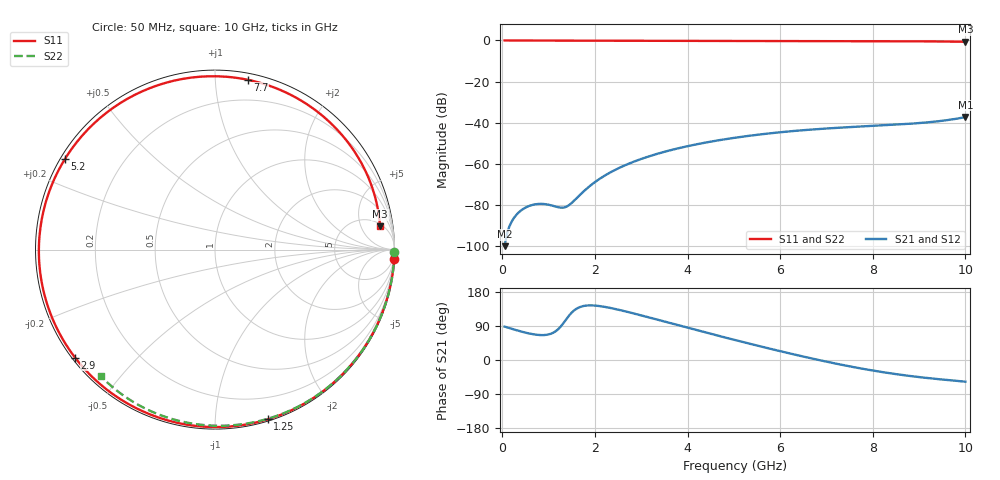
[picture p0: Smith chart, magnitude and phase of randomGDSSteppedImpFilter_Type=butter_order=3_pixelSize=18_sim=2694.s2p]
! freq	dB(S11)	phase(S11)	dB(S12)	phase(S12)
!  dB(S21)	phase(S21)	dB(S22)	phase(S22)
!S-par simulation data
#  GHz  S  DB  R 50
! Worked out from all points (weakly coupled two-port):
!   200 points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, 50 MHz to 10 GHz, reference 50 ohm
!   highest |S21| = -37.22 dB at 10 GHz (marker M1); lowest = -99.9 dB at 50 MHz (marker M2)
!   lowest |S11| = -0.6 dB at 10 GHz (marker M3), VSWR 26.91, Z = 294 + j554 ohm
!   |S11| at or under -10 dB: nowhere
!   |S22| runs from -0.4 to 0.0 dB; largest |S21 - S12| = 0
!   S11 on the Smith chart (normalised r, x): 50 MHz: 0, -37; 1.25 GHz: 0.01, -1.36; 2.9 GHz: 0.01, -0.34; 5.2 GHz: 0.01, +0.28; 7.7 GHz: 0.05, +1.21; 10 GHz: 6, +11
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0.05  -0.00 -3.1  -99.92 88.1  -99.92 88.1  -0.00 -0.8
0.35  -0.03 -21.6  -83.63 77.1  -83.63 77.1  -0.01 -5.3
0.7  -0.06 -42.5  -79.64 67.3  -79.64 67.3  -0.01 -10.6
0.95  -0.07 -56.7  -79.58 66.4  -79.58 66.4  -0.02 -14.4
1.25  -0.08 -72.7  -81.19 86.7  -81.19 86.7  -0.02 -18.9
1.45  -0.09 -82.8  -79.85 118.5  -79.85 118.5  -0.03 -21.9
1.75  -0.10 -96.9  -73.46 142.4  -73.46 142.4  -0.03 -26.3
2  -0.11 -107.9  -68.81 143.6  -68.81 143.6  -0.04 -30.0
2.25  -0.12 -118.2  -65.15 139.4  -65.15 139.4  -0.04 -33.7
2.9  -0.13 -142.3  -58.37 120.9  -58.37 120.9  -0.06 -43.1
3.4  -0.14 -158.9  -54.71 104.8  -54.71 104.8  -0.07 -50.1
3.8  -0.15 -171.2  -52.38 91.8  -52.38 91.8  -0.08 -55.7
4.2  -0.17 177.0  -50.42 78.8  -50.42 78.8  -0.09 -61.2
5.05  -0.20 153.1  -47.17 51.9  -47.17 51.9  -0.11 -72.6
5.2  -0.20 149.0  -46.70 47.3  -46.70 47.3  -0.12 -74.5
6  -0.24 127.1  -44.60 23.3  -44.60 23.3  -0.15 -84.8
6.7  -0.27 107.7  -43.24 3.6  -43.24 3.6  -0.18 -93.5
7.2  -0.30 93.5  -42.48 -9.5  -42.48 -9.5  -0.21 -99.6
7.7  -0.32 79.1  -41.85 -21.3  -41.85 -21.3  -0.24 -105.6
8.35  -0.36 59.8  -41.09 -34.6  -41.09 -34.6  -0.29 -113.2
9.25  -0.46 32.1  -39.64 -48.4  -39.64 -48.4  -0.37 -123.6
10  -0.65 8.1  -37.22 -57.2  -37.22 -57.2  -0.45 -132.1
